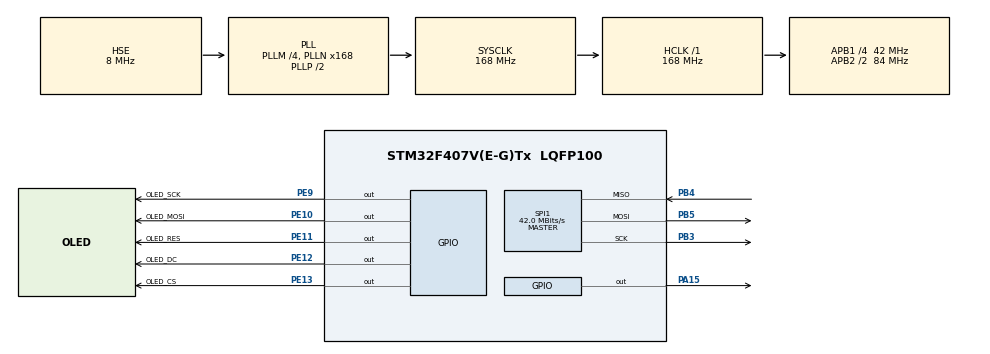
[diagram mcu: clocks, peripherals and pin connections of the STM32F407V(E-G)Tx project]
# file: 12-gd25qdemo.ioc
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Mcu.Family=STM32F4
Mcu.Name=STM32F407V(E-G)Tx
Mcu.Package=LQFP100
NVIC.PriorityGroup=NVIC_PRIORITYGROUP_4
PA13.Mode=Serial_Wire
PA13.Signal=SYS_JTMS-SWDIO
PA14.Mode=Serial_Wire
PA14.Signal=SYS_JTCK-SWCLK
PA15.PinState=GPIO_PIN_SET
PA15.Signal=GPIO_Output
PB3.Mode=Full_Duplex_Master
PB3.Signal=SPI1_SCK
PB4.Mode=Full_Duplex_Master
PB4.Signal=SPI1_MISO
PB5.Mode=Full_Duplex_Master
PB5.Signal=SPI1_MOSI
PE10.GPIO_Label=OLED_MOSI
PE10.GPIO_Speed=GPIO_SPEED_FREQ_MEDIUM
PE10.Signal=GPIO_Output
PE11.GPIO_Label=OLED_RES
PE11.GPIO_Speed=GPIO_SPEED_FREQ_MEDIUM
PE11.Signal=GPIO_Output
PE12.GPIO_Label=OLED_DC
PE12.GPIO_Speed=GPIO_SPEED_FREQ_MEDIUM
PE12.Signal=GPIO_Output
PE13.GPIO_Label=OLED_CS
PE13.GPIO_Speed=GPIO_SPEED_FREQ_MEDIUM
PE13.Signal=GPIO_Output
PE9.GPIO_Label=OLED_SCK
PE9.GPIO_Speed=GPIO_SPEED_FREQ_MEDIUM
PE9.Signal=GPIO_Output
PH0-OSC_IN.Mode=HSE-External-Oscillator
PH0-OSC_IN.Signal=RCC_OSC_IN
PH1-OSC_OUT.Mode=HSE-External-Oscillator
PH1-OSC_OUT.Signal=RCC_OSC_OUT
ProjectManager.HeapSize=0x200
ProjectManager.StackSize=0x400
ProjectManager.TargetToolchain=MDK-ARM V5.32
RCC.48MHZClocksFreq_Value=84000000
RCC.AHBFreq_Value=168000000
RCC.APB1CLKDivider=RCC_HCLK_DIV4
RCC.APB1Freq_Value=42000000
RCC.APB1TimFreq_Value=84000000
RCC.APB2CLKDivider=RCC_HCLK_DIV2
RCC.APB2Freq_Value=84000000
RCC.APB2TimFreq_Value=168000000
RCC.CortexFreq_Value=168000000
RCC.HCLKFreq_Value=168000000
RCC.HSE_VALUE=8000000
RCC.HSI_VALUE=16000000
RCC.LSE_VALUE=32768
RCC.PLLM=4
RCC.PLLN=168
RCC.PLLSourceVirtual=RCC_PLLSOURCE_HSE
RCC.SYSCLKFreq_VALUE=168000000
RCC.SYSCLKSource=RCC_SYSCLKSOURCE_PLLCLK
RCC.VCOOutputFreq_Value=336000000
SPI1.CalculateBaudRate=42.0 MBits/s
SPI1.Direction=SPI_DIRECTION_2LINES
SPI1.Mode=SPI_MODE_MASTER
SPI1.VirtualType=VM_MASTER
board=custom

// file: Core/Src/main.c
/* USER CODE BEGIN Header */
/**
  ******************************************************************************
  * @file           : main.c
  * @brief          : Main program body
  ******************************************************************************
  * @attention
  *
  * Copyright (c) 2026 STMicroelectronics.
  * All rights reserved.
  *
  * This software is licensed under terms that can be found in the LICENSE file
  * in the root directory of this software component.
  * If no LICENSE file comes with this software, it is provided AS-IS.
  *
  ******************************************************************************
  */
/* USER CODE END Header */
#include "main.h"
#include "spi.h"
#include "gpio.h"

/* USER CODE BEGIN Includes */
#include "app_flash.h"   /* 应用层封装：init / save / load / erase / self_test */
#include "OLED.h"
/* 需要更底层接口时用 gd25q80.h（在 Bsp 目录） */
/* USER CODE END Includes */

/* USER CODE BEGIN PV */

/* USER CODE END PV *//* USER CODE END PV */

void SystemClock_Config(void);

int main(void)
{

  /* MCU Configuration--------------------------------------------------------*/

  /* Reset of all peripherals, Initializes the Flash interface and the Systick. */
  HAL_Init();

  /* Configure the system clock */
  SystemClock_Config();

  /* Initialize all configured peripherals */
  MX_GPIO_Init();
  MX_SPI1_Init();
  /* USER CODE BEGIN 2 */

  /* ================== 在这里写你自己的功能 ==================
   * 外部 Flash 的功能已经封装在 app_flash.c/h 里，直接调用：
   *
   *   app_flash_init();                     初始化，上电先调一次
   *   app_flash_save(地址, 数据, 长度);      保存数据，自动擦除
   *   app_flash_load(地址, 缓冲区, 长度);    读取数据
   *   app_flash_erase(地址);                擦除 4KB 扇区
   *   app_flash_read_id(&id);               读芯片 ID，正常 0xC84014
   *   app_flash_self_test();                自检：写一段再读回比对
   *
   * 最小示例（初始化并自检，返回 0 表示成功）：
   *   GD25Q_Status ret = app_flash_init();
   *   if (ret == GD25Q_OK) ret = app_flash_self_test();
   *
   * 调试小技巧：Keil 进入调试后，在 Watch 窗口添加变量 g_flash_info，
   *   不用加打印就能看到芯片 ID、最近一次的结果、地址和长度；
   *   g_flash_info.step 的数字含义见 app_flash.h 里的 app_flash_step_t。
   *
   * 想把返回值显示出来，用 GD25Q_StatusString(返回值)，
   *   它会给出 OK、RANGE 这类英文短词；每个值的中文含义见 app_flash.h。
   * 完整接口见 app_flash.h，底层接口见 gd25q80.h
   * ========================================================= */

  /* ===== 临时测试代码开始：用完可删掉本块 ===== */
  {
      uint8_t t_w[4] = {0x11, 0x22, 0x33, 0x44};
      uint8_t t_r[4] = {0x00, 0x00, 0x00, 0x00};
      uint8_t t_same = 0;
      GD25Q_Status t_ret;

      oled_init();
      oled_clear();

      t_ret = app_flash_init();
      if (t_ret == GD25Q_OK)
      {
          t_ret = app_flash_save(0x001000, t_w, 4);
      }
      if (t_ret == GD25Q_OK)
      {
          t_ret = app_flash_load(0x001000, t_r, 4);
      }

      t_same = (t_r[0] == t_w[0]) && (t_r[1] == t_w[1]) &&
               (t_r[2] == t_w[2]) && (t_r[3] == t_w[3]);

      oled_showstring(1, 1, "API TEST");
      oled_showstring(2, 1, (char *)GD25Q_StatusString(t_ret));
      oled_showstring(3, 1, t_same ? "DATA PASS" : "DATA FAIL");
  }
  /* ===== 临时测试代码结束 ===== */

  /* USER CODE END 2 */

  /* Infinite loop */
  while (1)
  {

    /* USER CODE BEGIN 3 */
    /* 在这里添加循环执行的功能。保存数据用 GD25Q_Write()，读取用 GD25Q_ReadData()。
     * 不要在循环里反复擦写，Flash 擦写寿命有限，仅在数据变化时写入 */
    HAL_Delay(100);
  }
  /* USER CODE END 3 */
}

void SystemClock_Config(void)
{
  RCC_OscInitTypeDef RCC_OscInitStruct = {0};
  RCC_ClkInitTypeDef RCC_ClkInitStruct = {0};

  /** Configure the main internal regulator output voltage
  */
  __HAL_RCC_PWR_CLK_ENABLE();
  __HAL_PWR_VOLTAGESCALING_CONFIG(PWR_REGULATOR_VOLTAGE_SCALE1);

  /** Initializes the RCC Oscillators according to the specified parameters
  * in the RCC_OscInitTypeDef structure.
  */
  RCC_OscInitStruct.OscillatorType = RCC_OSCILLATORTYPE_HSE;
  RCC_OscInitStruct.HSEState = RCC_HSE_ON;
  RCC_OscInitStruct.PLL.PLLState = RCC_PLL_ON;
  RCC_OscInitStruct.PLL.PLLSource = RCC_PLLSOURCE_HSE;
  RCC_OscInitStruct.PLL.PLLM = 4;
  RCC_OscInitStruct.PLL.PLLN = 168;
  RCC_OscInitStruct.PLL.PLLP = RCC_PLLP_DIV2;
  RCC_OscInitStruct.PLL.PLLQ = 4;
  if (HAL_RCC_OscConfig(&RCC_OscInitStruct) != HAL_OK)
  {
    Error_Handler();
  }

  /** Initializes the CPU, AHB and APB buses clocks
  */
  RCC_ClkInitStruct.ClockType = RCC_CLOCKTYPE_HCLK|RCC_CLOCKTYPE_SYSCLK
                              |RCC_CLOCKTYPE_PCLK1|RCC_CLOCKTYPE_PCLK2;
  RCC_ClkInitStruct.SYSCLKSource = RCC_SYSCLKSOURCE_PLLCLK;
  RCC_ClkInitStruct.AHBCLKDivider = RCC_SYSCLK_DIV1;
  RCC_ClkInitStruct.APB1CLKDivider = RCC_HCLK_DIV4;
  RCC_ClkInitStruct.APB2CLKDivider = RCC_HCLK_DIV2;

  if (HAL_RCC_ClockConfig(&RCC_ClkInitStruct, FLASH_LATENCY_5) != HAL_OK)
  {
    Error_Handler();
  }
}

void Error_Handler(void)
{
  __disable_irq();
  while (1)
  {
  }
}
